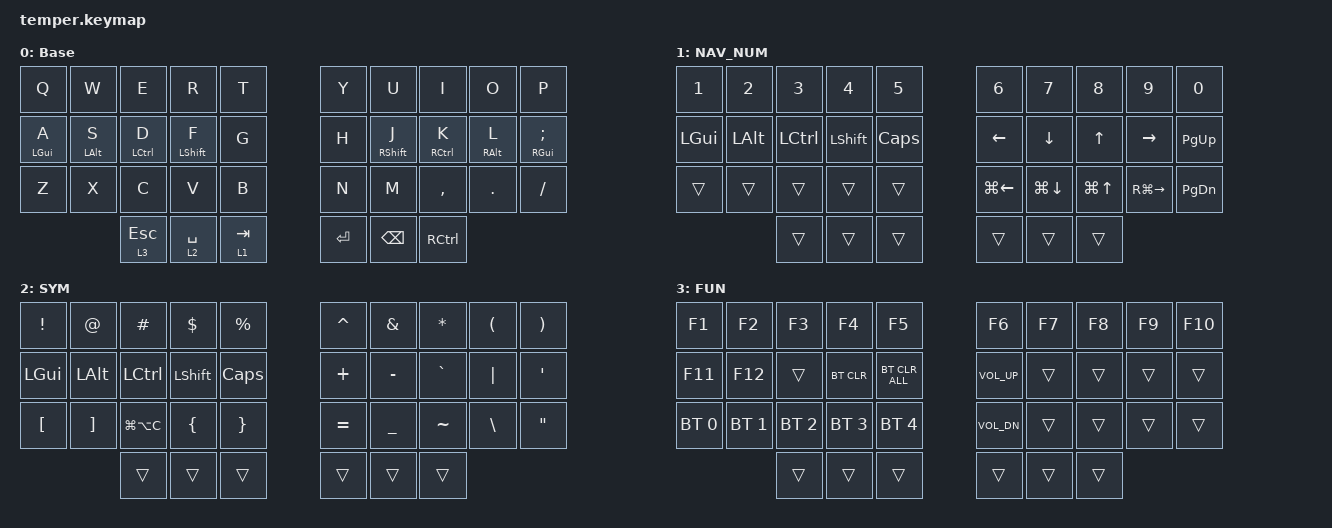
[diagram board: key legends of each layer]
/*
 * Copyright (c) 2020 duckyb
 *
 * SPDX-License-Identifier: MIT
 */

#include <behaviors.dtsi>
#include <dt-bindings/zmk/bt.h>
#include <dt-bindings/zmk/keys.h>

#define Base 0
#define NAV_NUM 1
#define SYM 2
#define FUN 3

&sk { quick-release; };

&lt {
    flavor = "hold-preferred";
    quick-tap-ms = <180>;
};

/ {
    behaviors {
        hm: hm {
            compatible = "zmk,behavior-hold-tap";
            label = "HM";
            bindings = <&kp>, <&kp>;

            #binding-cells = <2>;
            quick-tap-ms = <170>;
            tapping-term-ms = <190>;
            global-quick-tap;
            flavor = "tap-preferred";
        };

        hml: hml {
            compatible = "zmk,behavior-hold-tap";
            label = "HML";
            bindings = <&kp>, <&kp>;

            #binding-cells = <2>;
            tapping-term-ms = <280>;
            quick-tap-ms = <175>;
            require-prior-idle-ms = <150>;
            flavor = "balanced";
            hold-trigger-on-release;
            hold-trigger-key-positions = <0 1 2 3 4 20 21 22 23 24 14 30 31 32 33 34 35 25 15 5 6 16 26 27 17 7 8 18 28 29 19 9>;
        };

        hmr: hmr {
            compatible = "zmk,behavior-hold-tap";
            label = "HMR";
            bindings = <&kp>, <&kp>;

            #binding-cells = <2>;
            tapping-term-ms = <280>;
            quick-tap-ms = <175>;
            require-prior-idle-ms = <150>;
            flavor = "balanced";
            hold-trigger-on-release;
            hold-trigger-key-positions = <0 10 20 21 1 11 12 2 3 4 24 14 13 23 22 30 31 32 33 34 35 25 26 28 27 29 9 8 7 6 5 15>;
        };

        mo_tog: mo_tog {
            compatible = "zmk,behavior-hold-tap";
            label = "MO_TOG";
            bindings = <&mo>, <&tog>;

            #binding-cells = <2>;
            tapping-term-ms = <200>;
            quick-tap-ms = <180>;
        };
    };

    combos {
        compatible = "zmk,combos";

        left_bkt {
            bindings = <&kp LBKT>;
            key-positions = <3 4>;
            timeout-ms = <30>;
        };

        right_bkt {
            bindings = <&kp RBKT>;
            key-positions = <6 5>;
            timeout-ms = <30>;
        };

        left_par {
            bindings = <&kp LEFT_PARENTHESIS>;
            key-positions = <13 14>;
            timeout-ms = <30>;
        };

        right_par {
            bindings = <&kp RIGHT_PARENTHESIS>;
            key-positions = <16 15>;
            timeout-ms = <30>;
        };

        left_brace {
            bindings = <&kp LEFT_BRACE>;
            key-positions = <23 24>;
            timeout-ms = <35>;
        };

        right_brace {
            bindings = <&kp RIGHT_BRACE>;
            key-positions = <26 25>;
            timeout-ms = <35>;
        };

        bac {
            bindings = <&kp BACKSLASH>;
            key-positions = <3 14>;
        };

        pipe {
            bindings = <&kp PIPE>;
            key-positions = <15 5>;
            timeout-ms = <30>;
        };

        esc {
            bindings = <&kp ESC>;
            key-positions = <11 12>;
            timeout-ms = <30>;
        };

        enter {
            bindings = <&kp ENTER>;
            key-positions = <16 17>;
            timeout-ms = <30>;
        };

        tab {
            bindings = <&kp TAB>;
            key-positions = <12 13>;
            timeout-ms = <30>;
        };

        back {
            bindings = <&kp BACKSPACE>;
            key-positions = <17 18>;
            timeout-ms = <30>;
        };

        del {
            bindings = <&kp DELETE>;
            key-positions = <27 28>;
            timeout-ms = <30>;
        };

        copy {
            bindings = <&kp LG(C)>;
            key-positions = <21 22>;
            timeout-ms = <30>;
        };

        paste {
            bindings = <&kp LG(V)>;
            key-positions = <22 23>;
            timeout-ms = <30>;
        };

        slash {
            bindings = <&kp SLASH>;
            key-positions = <15 6>;
        };
    };

    keymap {
        compatible = "zmk,keymap";

        base {
            label = "Base";
            display-name = "Base";
            bindings = <
  &kp Q            &kp W            &kp E         &kp R              &kp T        &kp Y      &kp U               &kp I         &kp O             &kp P
  &hml LEFT_GUI A  &hml LEFT_ALT S  &hml LCTRL D  &hml LEFT_SHIFT F  &kp G        &kp H      &hmr RIGHT_SHIFT J  &hmr RCTRL K  &hmr RIGHT_ALT L  &hmr RIGHT_GUI SEMICOLON
  &kp Z            &kp X            &kp C         &kp V              &kp B        &kp N      &kp M               &kp COMMA     &kp DOT           &kp FSLH
                                    &lt 3 ESCAPE  &lt 2 SPACE        &lt 1 TAB    &kp ENTER  &kp BACKSPACE       &kp RCTRL
            >;
        };

        nav_num {
            display-name = "NAV_NUM";
            label = "NAV_NUM";
            bindings = <
  &kp N1        &kp N2        &kp N3     &kp N4          &kp N5          &kp N6              &kp N7        &kp N8            &kp N9         &kp N0
  &kp LEFT_GUI  &kp LEFT_ALT  &kp LCTRL  &kp LEFT_SHIFT  &kp CAPSLOCK    &kp LEFT            &kp DOWN      &kp UP            &kp RIGHT      &kp PAGE_UP
  &trans        &trans        &trans     &trans          &trans          &kp LG(LEFT_ARROW)  &kp LG(DOWN)  &kp LG(UP_ARROW)  &kp RG(RIGHT)  &kp PAGE_DOWN
                              &trans     &trans          &trans          &trans              &trans        &trans
            >;
        };

        sym {
            label = "SYM";
            display-name = "SYM";
            bindings = <
  &kp EXCLAMATION   &kp AT             &kp HASH       &kp DOLLAR      &kp PERCENT        &kp CARET  &kp AMPERSAND  &kp ASTERISK  &kp LEFT_PARENTHESIS  &kp RIGHT_PARENTHESIS
  &kp LEFT_GUI      &kp LEFT_ALT       &kp LCTRL      &kp LEFT_SHIFT  &kp CAPSLOCK       &kp PLUS   &kp MINUS      &kp GRAVE     &kp PIPE              &kp SINGLE_QUOTE
  &kp LEFT_BRACKET  &kp RIGHT_BRACKET  &kp LG(LA(C))  &kp LEFT_BRACE  &kp RIGHT_BRACE    &kp EQUAL  &kp UNDER      &kp TILDE     &kp BACKSLASH         &kp DOUBLE_QUOTES
                                       &trans         &trans          &trans             &trans     &trans         &trans
            >;
        };

        fun {
            bindings = <
  &kp F1        &kp F2        &kp F3        &kp F4        &kp F5            &kp F6           &kp F7  &kp F8  &kp F9  &kp F10
  &kp F11       &kp F12       &trans        &bt BT_CLR    &bt BT_CLR_ALL    &kp C_VOLUME_UP  &trans  &trans  &trans  &trans
  &bt BT_SEL 0  &bt BT_SEL 1  &bt BT_SEL 2  &bt BT_SEL 3  &bt BT_SEL 4      &kp C_VOL_DN     &trans  &trans  &trans  &trans
                              &trans        &trans        &trans            &trans           &trans  &trans
            >;

            display-name = "FUN";
            label = "FUN";
        };
    };

    conditional_layers {
        compatible = "zmk,conditional-layers";

        tes {
            if-layers = <1 2>;
            then-layer = <3>;
        };
    };
};
